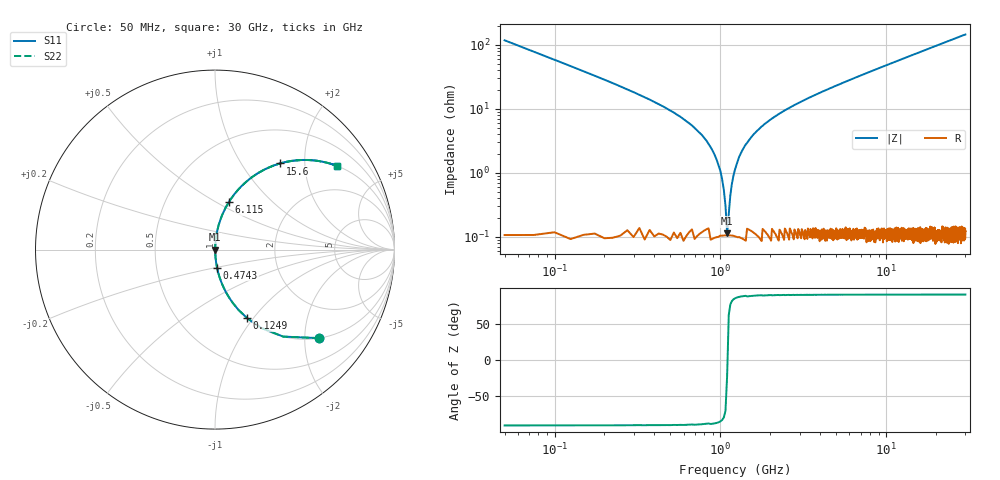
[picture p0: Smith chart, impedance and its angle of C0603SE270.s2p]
!	AVX Thin Film Operation 	Date: April 2014
!	Description: Accu-P® Series, Thin Film  SMD RF Capacitor
!	Part Number: 06033K270FBSTR
# MHZ S MA R 50
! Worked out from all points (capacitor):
!   1201 points, 50 MHz to 30 GHz, reference 50 ohm
!   read as one part in series: C = 27 pF near 199.8 MHz
!   lowest |Z| = 113 mohm at 1.098 GHz (marker M1)
!   series resonance near 1.102 GHz, so ESL is about 770 pH
!   S11 on the Smith chart (normalised r, x): 50 MHz: 1.00, -2.35; 124.9 MHz: 1.00, -0.93; 474.3 MHz: 1.00, -0.20; 6.115 GHz: 1.00, +0.57; 15.6 GHz: 1.00, +1.51; 30 GHz: 1.00, +2.90
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50  0.762 -40.3  0.647 49.6  0.647 49.6  0.762 -40.3
124.875  0.422 -64.9  0.906 25.0  0.906 25.0  0.422 -64.9
249.667  0.218 -77.1  0.975 12.6  0.975 12.6  0.218 -77.1
474.292  0.101 -83.6  0.994 5.8  0.994 5.8  0.101 -83.6
798.75  0.035 -86.2  0.998 2.0  0.998 2.0  0.035 -86.2
898.583  0.022 -85.9  0.999 1.3  0.999 1.3  0.022 -85.9
998.417  0.011 -83.4  0.999 0.6  0.999 0.6  0.011 -83.4
1098.25  0.001182 -20.2  0.999 0.0  0.999 0.0  0.001182 -20.2
1198.083  0.008963 82.4  0.999 -0.5  0.999 -0.5  0.008963 82.4
1322.875  0.02 85.6  0.999 -1.1  0.999 -1.1  0.02 85.6
1472.625  0.031 86.2  0.998 -1.8  0.998 -1.8  0.031 86.2
1697.25  0.047 85.9  0.998 -2.7  0.998 -2.7  0.047 85.9
2021.708  0.069 85.1  0.997 -3.9  0.997 -3.9  0.069 85.1
3169.792  0.134 81.8  0.99 -7.7  0.99 -7.7  0.134 81.8
5041.667  0.227 76.6  0.973 -13.1  0.973 -13.1  0.227 76.6
6114.875  0.276 73.8  0.96 -16.0  0.96 -16.0  0.276 73.8
10058.29  0.434 64.2  0.9 -25.7  0.9 -25.7  0.434 64.2
15025  0.586 54.0  0.809 -35.9  0.809 -35.9  0.586 54.0
15599.04  0.601 53.0  0.798 -36.9  0.798 -36.9  0.601 53.0
20016.67  0.695 45.9  0.718 -44.0  0.718 -44.0  0.695 45.9
25033.29  0.771 39.5  0.636 -50.4  0.636 -50.4  0.771 39.5
30000  0.823 34.5  0.567 -55.4  0.567 -55.4  0.823 34.5
